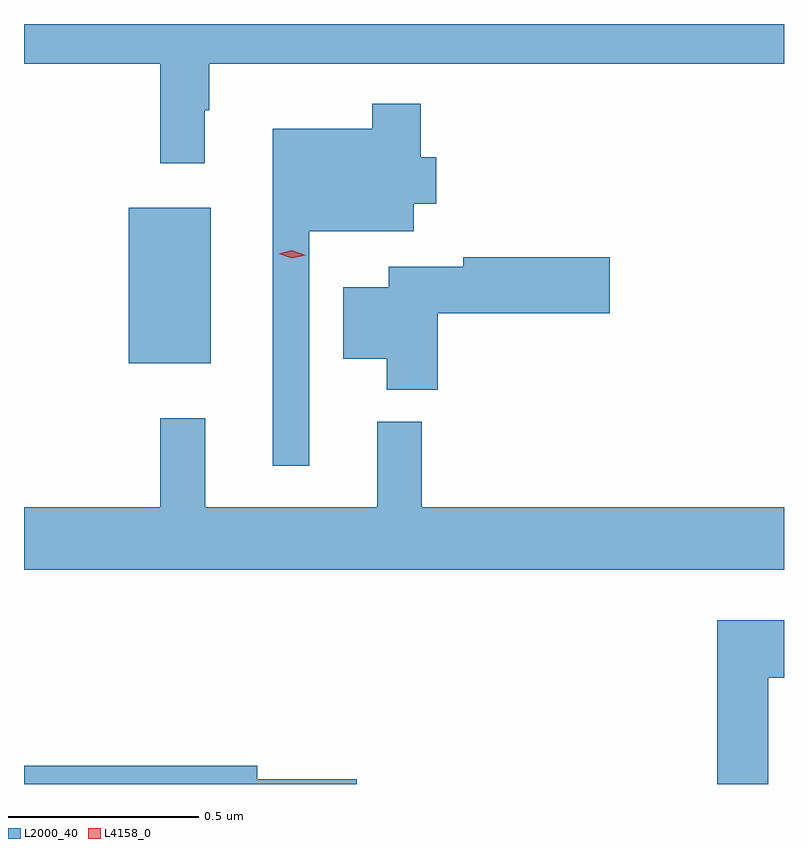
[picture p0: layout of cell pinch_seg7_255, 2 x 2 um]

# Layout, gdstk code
import gdstk
lib = gdstk.Library(unit=1e-6, precision=1e-09)
def R(c, l, rs):  # rectangles x0, y0, x1, y1
    for r in rs: c.add(gdstk.rectangle(r[:2], r[2:], *l))
def P(c, l, *ps):  # polygons
    for p in ps: c.add(gdstk.Polygon(p, *l))
L2000_40 = (2000, 40)
L4158_0 = (4158, 0)

pinch_seg7_255 = lib.new_cell('pinch_seg7_255')
R(pinch_seg7_255, L2000_40, [(832.022,1073.087,832.237,1073.497)])
P(pinch_seg7_255, L2000_40, [(832.222,1073.753),(832.234,1073.753),(832.234,1073.876),(833.746,1073.876),(833.746,1073.98),(831.746,1073.98),(831.746,1073.876),(832.105,1073.876),(832.105,1073.613),(832.222,1073.613)],
  [(832.497,1073.435),(832.771,1073.435),(832.771,1073.507),(832.831,1073.507),(832.831,1073.629),(832.79,1073.629),(832.79,1073.77),(832.662,1073.77),(832.662,1073.704),(832.4,1073.704),(832.4,1072.818),(832.497,1072.818)],
  [(832.835,1073.219),(833.287,1073.219),(833.287,1073.366),(832.902,1073.366),(832.902,1073.341),(832.706,1073.341),(832.706,1073.287),(832.586,1073.287),(832.586,1073.099),(832.7,1073.099),(832.7,1073.018),(832.835,1073.018)],
  [(833.746,1072.708),(832.793,1072.708),(832.793,1072.933),(832.676,1072.933),(832.676,1072.708),(832.223,1072.708),(832.223,1072.942),(832.105,1072.942),(832.105,1072.708),(831.746,1072.708),(831.746,1072.544),(833.746,1072.544)],
  [(833.704,1072.259),(833.746,1072.259),(833.746,1072.411),(833.57,1072.411),(833.57,1071.98),(833.704,1071.98)],
  [(832.621,1071.992),(832.36,1071.992),(832.36,1072.028),(831.746,1072.028),(831.746,1071.98),(832.621,1071.98)])
P(pinch_seg7_255, L4158_0, [(832.451,1073.364),(832.416,1073.375),(832.415,1073.375),(832.416,1073.376),(832.451,1073.384),(832.487,1073.372),(832.487,1073.372),(832.487,1073.372)])

lib.write_gds('pinch_seg7_255.gds')
